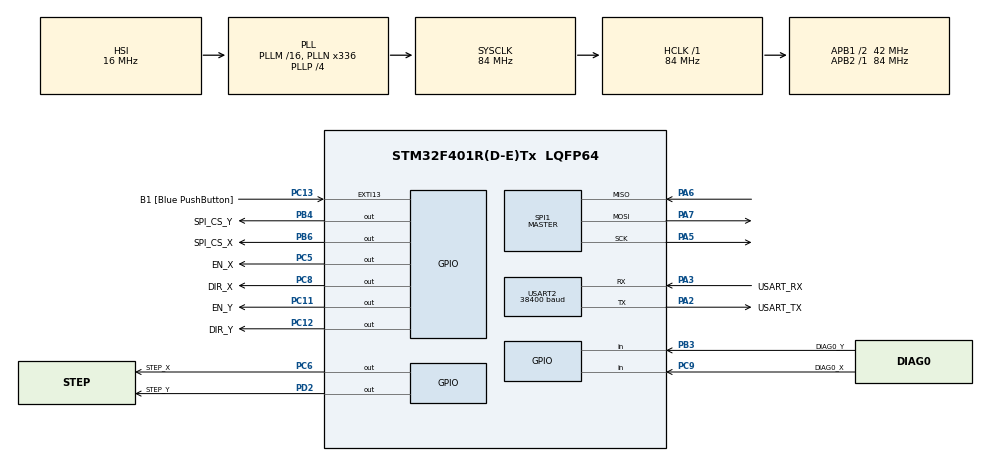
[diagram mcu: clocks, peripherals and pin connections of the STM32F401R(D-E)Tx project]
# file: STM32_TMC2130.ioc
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Mcu.Family=STM32F4
Mcu.Name=STM32F401R(D-E)Tx
Mcu.Package=LQFP64
NVIC.PriorityGroup=NVIC_PRIORITYGROUP_4
NVIC.TIM1_TRG_COM_TIM11_IRQn=true\:0\:0\:true\:false\:true\:true\:true
NVIC.TIM1_UP_TIM10_IRQn=true\:1\:0\:true\:false\:true\:true\:true
PA13.GPIO_Label=TMS
PA13.Mode=Serial_Wire
PA13.Signal=SYS_JTMS-SWDIO
PA14.GPIO_Label=TCK
PA14.Mode=Serial_Wire
PA14.Signal=SYS_JTCK-SWCLK
PA2.GPIO_Label=USART_TX
PA2.GPIO_Mode=GPIO_MODE_AF_PP
PA2.GPIO_PuPd=GPIO_NOPULL
PA2.GPIO_Speed=GPIO_SPEED_FREQ_LOW
PA2.Mode=Asynchronous
PA2.Signal=USART2_TX
PA3.GPIO_Label=USART_RX
PA3.GPIO_Mode=GPIO_MODE_AF_PP
PA3.GPIO_PuPd=GPIO_NOPULL
PA3.GPIO_Speed=GPIO_SPEED_FREQ_LOW
PA3.Mode=Asynchronous
PA3.Signal=USART2_RX
PA5.Mode=Full_Duplex_Master
PA5.Signal=SPI1_SCK
PA6.Mode=Full_Duplex_Master
PA6.Signal=SPI1_MISO
PA7.Mode=Full_Duplex_Master
PA7.Signal=SPI1_MOSI
PB3.GPIO_Label=DIAG0_Y
PB3.GPIO_PuPd=GPIO_PULLUP
PB3.Signal=GPIO_Input
PB4.GPIO_Label=SPI_CS_Y
PB4.PinState=GPIO_PIN_SET
PB4.Signal=GPIO_Output
PB6.GPIO_Label=SPI_CS_X
PB6.PinState=GPIO_PIN_SET
PB6.Signal=GPIO_Output
PC11.GPIO_Label=EN_Y
PC11.PinState=GPIO_PIN_SET
PC11.Signal=GPIO_Output
PC12.GPIO_Label=DIR_Y
PC12.Signal=GPIO_Output
PC13-ANTI_TAMP.GPIO_Label=B1 [Blue PushButton]
PC13-ANTI_TAMP.GPIO_ModeDefaultEXTI=GPIO_MODE_IT_FALLING
PC13-ANTI_TAMP.GPIO_PuPd=GPIO_NOPULL
PC13-ANTI_TAMP.Signal=GPXTI13
PC14-OSC32_IN.Mode=LSE-External-Oscillator
PC14-OSC32_IN.Signal=RCC_OSC32_IN
PC15-OSC32_OUT.Mode=LSE-External-Oscillator
PC15-OSC32_OUT.Signal=RCC_OSC32_OUT
PC5.GPIO_Label=EN_X
PC5.PinState=GPIO_PIN_SET
PC5.Signal=GPIO_Output
PC6.GPIO_Label=STEP_X
PC6.Signal=GPIO_Output
PC8.GPIO_Label=DIR_X
PC8.Signal=GPIO_Output
PC9.GPIO_Label=DIAG0_X
PC9.GPIO_PuPd=GPIO_PULLUP
PC9.Signal=GPIO_Input
PD2.GPIO_Label=STEP_Y
PD2.Signal=GPIO_Output
PH0\ -\ OSC_IN.Mode=HSE-External-Clock-Source
PH0\ -\ OSC_IN.Signal=RCC_OSC_IN
PH1\ -\ OSC_OUT.Mode=HSE-External-Clock-Source
PH1\ -\ OSC_OUT.Signal=RCC_OSC_OUT
ProjectManager.HeapSize=0x200
ProjectManager.StackSize=0x400
ProjectManager.TargetToolchain=STM32CubeIDE
RCC.48MHZClocksFreq_Value=48000000
RCC.AHBFreq_Value=84000000
RCC.APB1CLKDivider=RCC_HCLK_DIV2
RCC.APB1Freq_Value=42000000
RCC.APB1TimFreq_Value=84000000
RCC.APB2Freq_Value=84000000
RCC.APB2TimFreq_Value=84000000
RCC.CortexFreq_Value=84000000
RCC.HCLKFreq_Value=84000000
RCC.HSE_VALUE=8000000
RCC.HSI_VALUE=16000000
RCC.PLLN=336
RCC.PLLP=RCC_PLLP_DIV4
RCC.PLLQ=7
RCC.SYSCLKFreq_VALUE=84000000
RCC.SYSCLKSource=RCC_SYSCLKSOURCE_PLLCLK
RCC.VCOOutputFreq_Value=336000000
SPI1.BaudRatePrescaler=SPI_BAUDRATEPRESCALER_32
SPI1.CLKPhase=SPI_PHASE_2EDGE
SPI1.CLKPolarity=SPI_POLARITY_HIGH
SPI1.CRCCalculation=SPI_CRCCALCULATION_DISABLE
SPI1.Direction=SPI_DIRECTION_2LINES
SPI1.Mode=SPI_MODE_MASTER
SPI1.VirtualType=VM_MASTER
TIM10.AutoReloadPreload=TIM_AUTORELOAD_PRELOAD_ENABLE
TIM10.Period=(10000-1)
TIM10.Prescaler=83
TIM11.AutoReloadPreload=TIM_AUTORELOAD_PRELOAD_ENABLE
TIM11.Period=640
TIM11.Prescaler=0
USART2.BaudRate=38400
USART2.VirtualMode=VM_ASYNC
VP_TIM10_VS_ClockSourceINT.Mode=Enable_Timer
VP_TIM11_VS_ClockSourceINT.Mode=Enable_Timer
board=NUCLEO-F401RE

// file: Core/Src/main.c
/* USER CODE BEGIN Header */
/**
  ******************************************************************************
  * @file           : main.c
  * @brief          : Main program body
  ******************************************************************************
  * @attention
  *
  * <h2><center>&copy; Copyright (c) 2020 STMicroelectronics.
  * All rights reserved.</center></h2>
  *
  * This software component is licensed by ST under BSD 3-Clause license,
  * the "License"; You may not use this file except in compliance with the
  * License. You may obtain a copy of the License at:
  *                        opensource.org/licenses/BSD-3-Clause
  *
  ******************************************************************************
  */
/* USER CODE END Header */

#include "main.h"
#include "spi.h"
#include "tim.h"
#include "usart.h"
#include "gpio.h"

/* USER CODE BEGIN Includes */
#include "stdlib.h"
#include "delay_us.h"
#include "tmc2130_step_generator.h"
#include "tmc2130_interface_api.h"

#include "main.h"
/* USER CODE END Includes */

/* USER CODE BEGIN PV */

extern UART_HandleTypeDef huart2;
UART_HandleTypeDef* CLI_UART = &huart2;

TMC2130TypeDef Motor_X;
TMC2130_Controller_t Motor_X_Controller = {.Motor = &Motor_X};

TMC2130TypeDef Motor_Y;
TMC2130_Controller_t Motor_Y_Controller = {.Motor = &Motor_Y};

/* USER CODE END PV */

void SystemClock_Config(void);

/* USER CODE BEGIN 0 */

void CLI_UART_Send_Char(char data)
    {
    CLI_UART->Instance->DR = (data);
    while (__HAL_UART_GET_FLAG(CLI_UART,UART_FLAG_TC) == 0);
    }

void CLI_UART_Send_String(char *data)
    {
    while (*data)
	{
	CLI_UART_Send_Char(*data++);
	}
    }

void CLI_UART_Send_Int(int32_t num)
    {
    char int_to_str[10] = {0};
    itoa(num, int_to_str, 10);
    CLI_UART_Send_String(int_to_str);
    }

void CLI_UART_Send_Int_Hex(int32_t num)
    {
    char int_to_str[32] = {0};
    itoa(num, int_to_str, 16);
    CLI_UART_Send_String(int_to_str);
    }

void Motor_X_config()
    {

    int32_t sts = 0;

    Motor_X.CS_Port = SPI_CS_X_GPIO_Port;
    Motor_X.CS_Pin  = SPI_CS_X_Pin;

    Motor_X.Step_Port = STEP_X_GPIO_Port;
    Motor_X.Step_Pin  = STEP_X_Pin;

    Motor_X.DIR_Port = DIR_X_GPIO_Port;
    Motor_X.DIR_Pin = DIR_X_Pin;

    Motor_X.Enable_Port = EN_X_GPIO_Port;
    Motor_X.Enable_Pin = EN_X_Pin;

    Motor_X.DIAG1_Port = DIAG0_X_GPIO_Port;
    Motor_X.DIAG1_Pin = DIAG0_X_Pin;

    TMC_Add(&Motor_X_Controller);

    // set step generator parameters
    TMC_Set_Acceleration(&Motor_X_Controller, 100000);
    TMC_Set_MAX_velocity(&Motor_X_Controller, 100000);

    // enable stall and set minimum velocity for stall activation
    TMC_Enable_Stall(&Motor_X_Controller, 100000);

    // set tmc2130 parameters
    TMC2130_Set_Chopper_Off_Time(&Motor_X, 4);
    TMC2130_Set_Chopper_Blank_Time(&Motor_X, 0b10);
    TMC2130_Set_Max_Current(&Motor_X, 5);
    TMC2130_Set_Standby_Current(&Motor_X, 5);
    TMC2130_Set_Microstep(&Motor_X, 256);
    TMC2130_Set_TCOOLTHRS(&Motor_X, 0xFFFFF);
    TMC2130_Set_THIGH(&Motor_X, 0);
    TMC2130_Set_SEMIN_I(&Motor_X, 5);
    TMC2130_Set_SEMAX(&Motor_X, 2);
    TMC2130_Set_SEDN_I(&Motor_X, 0b01);

    TMC2130_Set_Stall_Threshold(&Motor_X, 12);

    // config diag1 for stall
    TMC2130_Set_DIAG0_Attribute(&Motor_X, DIAG_STALL, 1);

    sts = TMC2130_Get_Microstep(&Motor_X);
    sts = TMC2130_Get_Max_Current(&Motor_X);
    sts = TMC2130_Get_Standby_Current(&Motor_X);
    }

void Motor_Y_config()
    {

    int32_t sts = 0;

    Motor_Y.CS_Port = SPI_CS_Y_GPIO_Port;
    Motor_Y.CS_Pin  = SPI_CS_Y_Pin;

    Motor_Y.Step_Port = STEP_Y_GPIO_Port;
    Motor_Y.Step_Pin  = STEP_Y_Pin;

    Motor_Y.DIR_Port = DIR_Y_GPIO_Port;
    Motor_Y.DIR_Pin = DIR_Y_Pin;

    Motor_Y.Enable_Port = EN_Y_GPIO_Port;
    Motor_Y.Enable_Pin = EN_Y_Pin;

    Motor_Y.DIAG1_Port = DIAG0_Y_GPIO_Port;
    Motor_Y.DIAG1_Pin = DIAG0_Y_Pin;

    TMC_Add(&Motor_Y_Controller);

    // set step generator parameters
    TMC_Set_Acceleration(&Motor_Y_Controller, 130000);
    TMC_Set_MAX_velocity(&Motor_Y_Controller, 130000);

    // enable stall and set minimum velocity for stall activation
    TMC_Enable_Stall(&Motor_Y_Controller, 100000);

    // set tmc2130 parameters
    TMC2130_Set_Chopper_Off_Time(&Motor_Y, 4);
    TMC2130_Set_Chopper_Blank_Time(&Motor_Y, 0b10);
    TMC2130_Set_Max_Current(&Motor_Y, 5);
    TMC2130_Set_Standby_Current(&Motor_Y, 5);
    TMC2130_Set_Microstep(&Motor_Y, 256);
    TMC2130_Set_TCOOLTHRS(&Motor_Y, 0xFFFFF);
    TMC2130_Set_THIGH(&Motor_Y, 0);
    TMC2130_Set_SEMIN_I(&Motor_Y, 5);
    TMC2130_Set_SEMAX(&Motor_Y, 2);
    TMC2130_Set_SEDN_I(&Motor_Y, 0b01);

    TMC2130_Set_Stall_Threshold(&Motor_Y, 12);

    // config diag1 for stall
    TMC2130_Set_DIAG0_Attribute(&Motor_Y, DIAG_STALL, 1);

    sts = TMC2130_Get_Microstep(&Motor_Y);
    sts = TMC2130_Get_Max_Current(&Motor_Y);
    sts = TMC2130_Get_Standby_Current(&Motor_Y);
    }

/* USER CODE END 0 */

int main(void)
{

  /* MCU Configuration--------------------------------------------------------*/

  /* Reset of all peripherals, Initializes the Flash interface and the Systick. */
  HAL_Init();

  /* Configure the system clock */
  SystemClock_Config();

  /* Initialize all configured peripherals */
  MX_GPIO_Init();
  MX_USART2_UART_Init();
  MX_SPI1_Init();
  MX_TIM10_Init();
  MX_TIM11_Init();
  /* USER CODE BEGIN 2 */

  Motor_X_config();
  Motor_Y_config();

  TMC_Enable_Driver(&Motor_X_Controller, 1);
  TMC_Enable_Driver(&Motor_Y_Controller, 1);

  TMC_TIM_Enable(1);

  //rotate at fix velocity rpm = (100000*60)/(200*256)
  TMC_Rotate(&Motor_X_Controller, 100000);

  // wait for stall, sensorless homing
  while(!(TMC_Get_Status(&Motor_X_Controller) & STATUS_STALLED));

  // reset postion
  TMC_Set_Actual_Position(&Motor_X_Controller, 0);

  //rotate at fix velocity rpm = (50000*60)/(200*256)
  //TMC_Rotate(&Motor_Y_Controller, 50000);

  // wait for stall, sensorless homing
  //while(!(TMC_Get_Status(&Motor_Y_Controller) & STATUS_STALLED));

  // reset postion
  //TMC_Set_Actual_Position(&Motor_Y_Controller, 0);

  HAL_Delay(2000);

  /* USER CODE END 2 */

  /* Infinite loop */
  /* USER CODE BEGIN WHILE */

  while (1)
  {

  TMC_Move(&Motor_X_Controller, -256*200*1);  // move xx revolution
  TMC_Move(&Motor_Y_Controller, -256*200*2); // move xx revolution

  while(!(TMC_Get_Status(&Motor_X_Controller) & STATUS_TARGET_REACHED) &&
	  !(TMC_Get_Status(&Motor_X_Controller) & STATUS_STALLED));

  while(!(TMC_Get_Status(&Motor_Y_Controller) & STATUS_TARGET_REACHED) &&
	  !(TMC_Get_Status(&Motor_Y_Controller) & STATUS_STALLED));
  HAL_Delay(10);

  TMC_Move(&Motor_X_Controller, 256*200*1); // move xx revolution
  TMC_Move(&Motor_Y_Controller, 256*200*2); // move xx revolution

  while(!(TMC_Get_Status(&Motor_X_Controller) & STATUS_TARGET_REACHED) &&
	  !(TMC_Get_Status(&Motor_X_Controller) & STATUS_STALLED));

  while(!(TMC_Get_Status(&Motor_Y_Controller) & STATUS_TARGET_REACHED) &&
	  !(TMC_Get_Status(&Motor_Y_Controller) & STATUS_STALLED));

  HAL_Delay(10);

    /* USER CODE END WHILE */

  }
}

void SystemClock_Config(void)
{
  RCC_OscInitTypeDef RCC_OscInitStruct = {0};
  RCC_ClkInitTypeDef RCC_ClkInitStruct = {0};

  /** Configure the main internal regulator output voltage
  */
  __HAL_RCC_PWR_CLK_ENABLE();
  __HAL_PWR_VOLTAGESCALING_CONFIG(PWR_REGULATOR_VOLTAGE_SCALE2);
  /** Initializes the CPU, AHB and APB busses clocks
  */
  RCC_OscInitStruct.OscillatorType = RCC_OSCILLATORTYPE_HSI;
  RCC_OscInitStruct.HSIState = RCC_HSI_ON;
  RCC_OscInitStruct.HSICalibrationValue = RCC_HSICALIBRATION_DEFAULT;
  RCC_OscInitStruct.PLL.PLLState = RCC_PLL_ON;
  RCC_OscInitStruct.PLL.PLLSource = RCC_PLLSOURCE_HSI;
  RCC_OscInitStruct.PLL.PLLM = 16;
  RCC_OscInitStruct.PLL.PLLN = 336;
  RCC_OscInitStruct.PLL.PLLP = RCC_PLLP_DIV4;
  RCC_OscInitStruct.PLL.PLLQ = 7;
  if (HAL_RCC_OscConfig(&RCC_OscInitStruct) != HAL_OK)
  {
    Error_Handler();
  }
  /** Initializes the CPU, AHB and APB busses clocks
  */
  RCC_ClkInitStruct.ClockType = RCC_CLOCKTYPE_HCLK|RCC_CLOCKTYPE_SYSCLK
                              |RCC_CLOCKTYPE_PCLK1|RCC_CLOCKTYPE_PCLK2;
  RCC_ClkInitStruct.SYSCLKSource = RCC_SYSCLKSOURCE_PLLCLK;
  RCC_ClkInitStruct.AHBCLKDivider = RCC_SYSCLK_DIV1;
  RCC_ClkInitStruct.APB1CLKDivider = RCC_HCLK_DIV2;
  RCC_ClkInitStruct.APB2CLKDivider = RCC_HCLK_DIV1;

  if (HAL_RCC_ClockConfig(&RCC_ClkInitStruct, FLASH_LATENCY_2) != HAL_OK)
  {
    Error_Handler();
  }
}

void Error_Handler(void)
{
}

/************************ (C) COPYRIGHT STMicroelectronics *****END OF FILE****/
